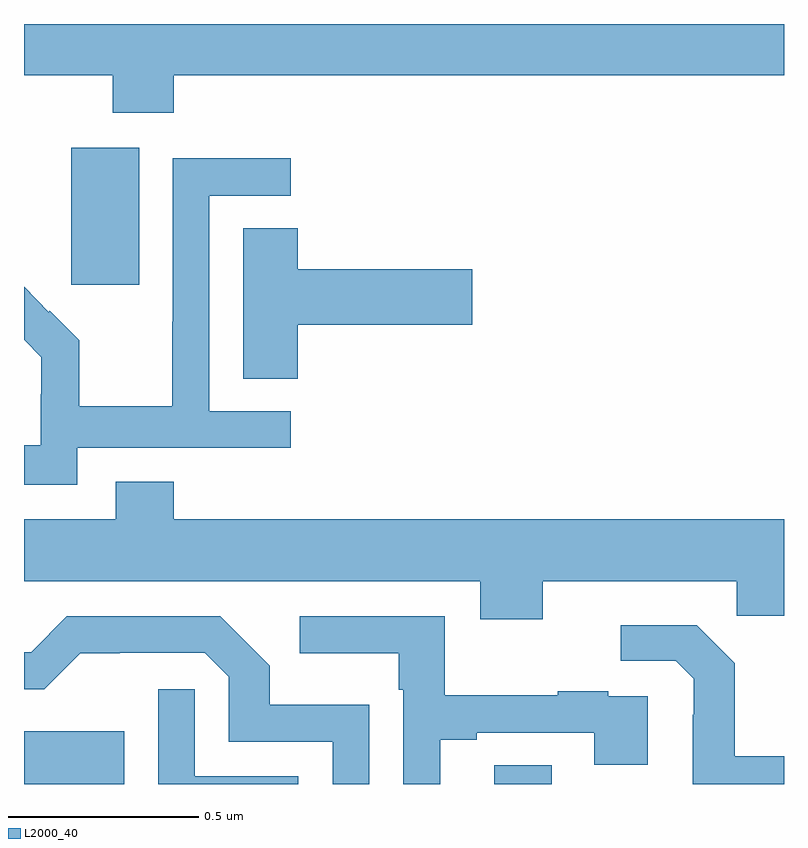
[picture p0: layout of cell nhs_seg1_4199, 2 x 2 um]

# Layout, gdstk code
import gdstk
lib = gdstk.Library(unit=1e-6, precision=1e-09)
def R(c, l, rs):  # rectangles x0, y0, x1, y1
    for r in rs: c.add(gdstk.rectangle(r[:2], r[2:], *l))
def P(c, l, *ps):  # polygons
    for p in ps: c.add(gdstk.Polygon(p, *l))
L2000_40 = (2000, 40)

nhs_seg1_4199 = lib.new_cell('nhs_seg1_4199')
R(nhs_seg1_4199, L2000_40, [(163,551.199,163.264,551.338), (164.237,551.199,164.389,551.249), (163.124,552.513,163.303,552.874)])
P(nhs_seg1_4199, L2000_40, [(163.394,553.064),(165,553.064),(165,553.199),(163,553.199),(163,553.064),(163.234,553.064),(163.234,552.965),(163.394,552.965)],
  [(163.14,552.084),(163.702,552.084),(163.702,552.18),(163.488,552.18),(163.488,552.747),(163.702,552.747),(163.702,552.846),(163.392,552.846),(163.392,552.416),(163.39,552.416),(163.39,552.193),(163.145,552.193),(163.145,552.367),(163.068,552.444),(163.065,552.441),(163,552.507),(163,552.368),(163.046,552.322),(163.046,552.225),(163.044,552.225),(163.044,552.091),(163,552.091),(163,551.987),(163.14,551.987)],
  [(163.721,552.407),(164.179,552.407),(164.179,552.554),(163.721,552.554),(163.721,552.662),(163.577,552.662),(163.577,552.265),(163.721,552.265)],
  [(164.365,551.732),(164.875,551.732),(164.875,551.642),(165,551.642),(165,551.896),(163.394,551.896),(163.394,551.995),(163.241,551.995),(163.241,551.896),(163,551.896),(163,551.732),(164.201,551.732),(164.201,551.633),(164.365,551.633)],
  [(164.095,551.316),(164.191,551.316),(164.191,551.334),(164.501,551.334),(164.501,551.25),(164.641,551.25),(164.641,551.43),(164.537,551.43),(164.537,551.443),(164.405,551.443),(164.405,551.432),(164.107,551.432),(164.107,551.64),(163.725,551.64),(163.725,551.543),(163.986,551.543),(163.986,551.447),(163.998,551.447),(163.998,551.199),(164.095,551.199)],
  [(163.908,551.407),(163.647,551.407),(163.647,551.51),(163.516,551.64),(163.113,551.64),(163.019,551.546),(163,551.546),(163,551.448),(163.053,551.448),(163.148,551.543),(163.252,551.543),(163.252,551.544),(163.476,551.544),(163.539,551.481),(163.539,551.31),(163.812,551.31),(163.812,551.199),(163.908,551.199)],
  [(165,551.272),(164.871,551.272),(164.871,551.517),(164.771,551.617),(164.571,551.617),(164.571,551.523),(164.715,551.523),(164.762,551.476),(164.762,551.381),(164.76,551.381),(164.76,551.199),(165,551.199)],
  [(163.722,551.22),(163.449,551.22),(163.449,551.449),(163.353,551.449),(163.353,551.199),(163.722,551.199)])

lib.write_gds('nhs_seg1_4199.gds')
